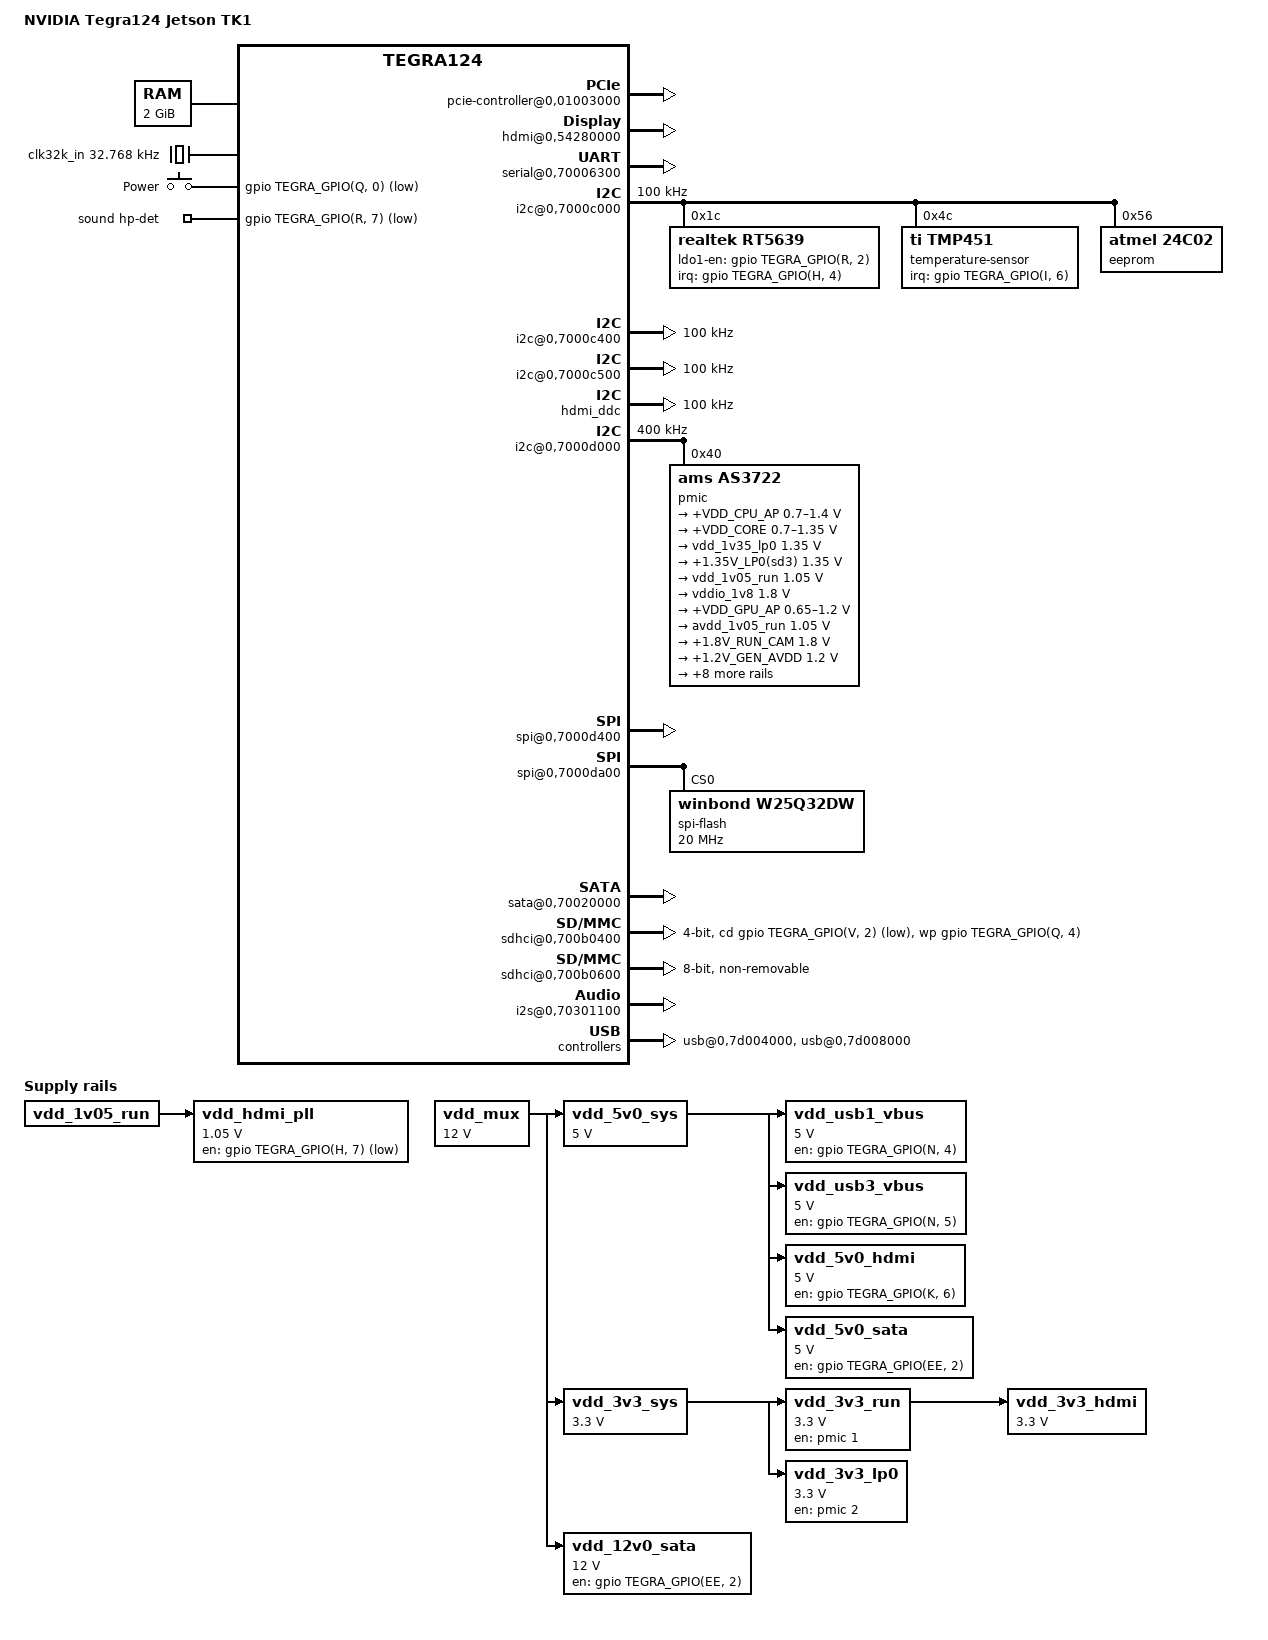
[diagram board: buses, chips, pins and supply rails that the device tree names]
/dts-v1/;

#include <dt-bindings/input/input.h>
#include "tegra124.dtsi"

/ {
	model = "NVIDIA Tegra124 Jetson TK1";
	compatible = "nvidia,jetson-tk1", "nvidia,tegra124";

	aliases {
		rtc0 = "/i2c@0,7000d000/pmic@40";
		rtc1 = "/rtc@0,7000e000";
	};

	memory {
		reg = <0x0 0x80000000 0x0 0x80000000>;
	};

	pcie-controller@0,01003000 {
		status = "okay";

		avddio-pex-supply = <&vdd_1v05_run>;
		dvddio-pex-supply = <&vdd_1v05_run>;
		avdd-pex-pll-supply = <&vdd_1v05_run>;
		hvdd-pex-supply = <&vdd_3v3_lp0>;
		hvdd-pex-pll-e-supply = <&vdd_3v3_lp0>;
		vddio-pex-ctl-supply = <&vdd_3v3_lp0>;
		avdd-pll-erefe-supply = <&avdd_1v05_run>;

		pci@1,0 {
			status = "okay";
		};

		pci@2,0 {
			status = "okay";
		};
	};

	host1x@0,50000000 {
		hdmi@0,54280000 {
			status = "okay";

			hdmi-supply = <&vdd_5v0_hdmi>;
			pll-supply = <&vdd_hdmi_pll>;
			vdd-supply = <&vdd_3v3_hdmi>;

			nvidia,ddc-i2c-bus = <&hdmi_ddc>;
			nvidia,hpd-gpio =
				<&gpio TEGRA_GPIO(N, 7) GPIO_ACTIVE_HIGH>;
		};
	};

	/* DB9 serial port */
	serial@0,70006300 {
		status = "okay";
	};

	/* Expansion GEN1_I2C_*, mini-PCIe I2C, on-board components */
	i2c@0,7000c000 {
		status = "okay";
		clock-frequency = <100000>;

		rt5639: audio-codec@1c {
			compatible = "realtek,rt5639";
			reg = <0x1c>;
			interrupt-parent = <&gpio>;
			interrupts = <TEGRA_GPIO(H, 4) GPIO_ACTIVE_HIGH>;
			realtek,ldo1-en-gpios =
				<&gpio TEGRA_GPIO(R, 2) GPIO_ACTIVE_HIGH>;
		};

		temperature-sensor@4c {
			compatible = "ti,tmp451";
			reg = <0x4c>;
			interrupt-parent = <&gpio>;
			interrupts = <TEGRA_GPIO(I, 6) IRQ_TYPE_LEVEL_LOW>;
		};

		eeprom@56 {
			compatible = "atmel,24c02";
			reg = <0x56>;
			pagesize = <8>;
		};
	};

	/* Expansion GEN2_I2C_* */
	i2c@0,7000c400 {
		status = "okay";
		clock-frequency = <100000>;
	};

	/* Expansion CAM_I2C_* */
	i2c@0,7000c500 {
		status = "okay";
		clock-frequency = <100000>;
	};

	/* HDMI DDC */
	hdmi_ddc: i2c@0,7000c700 {
		status = "okay";
		clock-frequency = <100000>;
	};

	/* Expansion PWR_I2C_*, on-board components */
	i2c@0,7000d000 {
		status = "okay";
		clock-frequency = <400000>;

		pmic: pmic@40 {
			compatible = "ams,as3722";
			reg = <0x40>;
			interrupts = <0 86 IRQ_TYPE_LEVEL_HIGH>;

			ams,system-power-controller;

			#interrupt-cells = <2>;
			interrupt-controller;

			gpio-controller;
			#gpio-cells = <2>;

			pinctrl-names = "default";
			pinctrl-0 = <&as3722_default>;

			as3722_default: pinmux {
				gpio0 {
					pins = "gpio0";
					function = "gpio";
					bias-pull-down;
				};

				gpio1_2_4_7 {
					pins = "gpio1", "gpio2", "gpio4", "gpio7";
					function = "gpio";
					bias-pull-up;
				};

				gpio3_5_6 {
					pins = "gpio3", "gpio5", "gpio6";
					bias-high-impedance;
				};
			};

			regulators {
				vsup-sd2-supply = <&vdd_5v0_sys>;
				vsup-sd3-supply = <&vdd_5v0_sys>;
				vsup-sd4-supply = <&vdd_5v0_sys>;
				vsup-sd5-supply = <&vdd_5v0_sys>;
				vin-ldo0-supply = <&vdd_1v35_lp0>;
				vin-ldo1-6-supply = <&vdd_3v3_run>;
				vin-ldo2-5-7-supply = <&vddio_1v8>;
				vin-ldo3-4-supply = <&vdd_3v3_sys>;
				vin-ldo9-10-supply = <&vdd_5v0_sys>;
				vin-ldo11-supply = <&vdd_3v3_run>;

				sd0 {
					regulator-name = "+VDD_CPU_AP";
					regulator-min-microvolt = <700000>;
					regulator-max-microvolt = <1400000>;
					regulator-min-microamp = <3500000>;
					regulator-max-microamp = <3500000>;
					regulator-always-on;
					regulator-boot-on;
					ams,ext-control = <2>;
				};

				sd1 {
					regulator-name = "+VDD_CORE";
					regulator-min-microvolt = <700000>;
					regulator-max-microvolt = <1350000>;
					regulator-min-microamp = <2500000>;
					regulator-max-microamp = <2500000>;
					regulator-always-on;
					regulator-boot-on;
					ams,ext-control = <1>;
				};

				vdd_1v35_lp0: sd2 {
					regulator-name = "+1.35V_LP0(sd2)";
					regulator-min-microvolt = <1350000>;
					regulator-max-microvolt = <1350000>;
					regulator-always-on;
					regulator-boot-on;
				};

				sd3 {
					regulator-name = "+1.35V_LP0(sd3)";
					regulator-min-microvolt = <1350000>;
					regulator-max-microvolt = <1350000>;
					regulator-always-on;
					regulator-boot-on;
				};

				vdd_1v05_run: sd4 {
					regulator-name = "+1.05V_RUN";
					regulator-min-microvolt = <1050000>;
					regulator-max-microvolt = <1050000>;
				};

				vddio_1v8: sd5 {
					regulator-name = "+1.8V_VDDIO";
					regulator-min-microvolt = <1800000>;
					regulator-max-microvolt = <1800000>;
					regulator-boot-on;
					regulator-always-on;
				};

				sd6 {
					regulator-name = "+VDD_GPU_AP";
					regulator-min-microvolt = <650000>;
					regulator-max-microvolt = <1200000>;
					regulator-min-microamp = <3500000>;
					regulator-max-microamp = <3500000>;
					regulator-boot-on;
					regulator-always-on;
				};

				avdd_1v05_run: ldo0 {
					regulator-name = "+1.05V_RUN_AVDD";
					regulator-min-microvolt = <1050000>;
					regulator-max-microvolt = <1050000>;
					regulator-boot-on;
					regulator-always-on;
					ams,ext-control = <1>;
				};

				ldo1 {
					regulator-name = "+1.8V_RUN_CAM";
					regulator-min-microvolt = <1800000>;
					regulator-max-microvolt = <1800000>;
				};

				ldo2 {
					regulator-name = "+1.2V_GEN_AVDD";
					regulator-min-microvolt = <1200000>;
					regulator-max-microvolt = <1200000>;
					regulator-boot-on;
					regulator-always-on;
				};

				ldo3 {
					regulator-name = "+1.05V_LP0_VDD_RTC";
					regulator-min-microvolt = <1000000>;
					regulator-max-microvolt = <1000000>;
					regulator-boot-on;
					regulator-always-on;
					ams,enable-tracking;
				};

				ldo4 {
					regulator-name = "+2.8V_RUN_CAM";
					regulator-min-microvolt = <2800000>;
					regulator-max-microvolt = <2800000>;
				};

				ldo5 {
					regulator-name = "+1.2V_RUN_CAM_FRONT";
					regulator-min-microvolt = <1200000>;
					regulator-max-microvolt = <1200000>;
				};

				vddio_sdmmc3: ldo6 {
					regulator-name = "+VDDIO_SDMMC3";
					regulator-min-microvolt = <1800000>;
					regulator-max-microvolt = <3300000>;
				};

				ldo7 {
					regulator-name = "+1.05V_RUN_CAM_REAR";
					regulator-min-microvolt = <1050000>;
					regulator-max-microvolt = <1050000>;
				};

				ldo9 {
					regulator-name = "+3.3V_RUN_TOUCH";
					regulator-min-microvolt = <2800000>;
					regulator-max-microvolt = <2800000>;
				};

				ldo10 {
					regulator-name = "+2.8V_RUN_CAM_AF";
					regulator-min-microvolt = <2800000>;
					regulator-max-microvolt = <2800000>;
				};

				ldo11 {
					regulator-name = "+1.8V_RUN_VPP_FUSE";
					regulator-min-microvolt = <1800000>;
					regulator-max-microvolt = <1800000>;
				};
			};
		};
	};

	/* Expansion TS_SPI_* */
	spi@0,7000d400 {
		status = "okay";
	};

	/* Internal SPI */
	spi@0,7000da00 {
		status = "okay";
		spi-max-frequency = <25000000>;
		spi-flash@0 {
			compatible = "winbond,w25q32dw";
			reg = <0>;
			spi-max-frequency = <20000000>;
		};
	};

	pmc@0,7000e400 {
		nvidia,invert-interrupt;
		nvidia,suspend-mode = <1>;
		nvidia,cpu-pwr-good-time = <500>;
		nvidia,cpu-pwr-off-time = <300>;
		nvidia,core-pwr-good-time = <641 3845>;
		nvidia,core-pwr-off-time = <61036>;
		nvidia,core-power-req-active-high;
		nvidia,sys-clock-req-active-high;
	};

	/* Serial ATA */
	sata@0,70020000 {
		status = "okay";

		hvdd-supply = <&vdd_3v3_lp0>;
		vddio-supply = <&vdd_1v05_run>;
		avdd-supply = <&vdd_1v05_run>;

		target-5v-supply = <&vdd_5v0_sata>;
		target-12v-supply = <&vdd_12v0_sata>;
	};

	padctl@0,7009f000 {
		pinctrl-0 = <&padctl_default>;
		pinctrl-names = "default";

		padctl_default: pinmux {
			usb3 {
				nvidia,lanes = "pcie-0", "pcie-1";
				nvidia,function = "usb3";
				nvidia,iddq = <0>;
			};

			pcie {
				nvidia,lanes = "pcie-2", "pcie-3",
					       "pcie-4";
				nvidia,function = "pcie";
				nvidia,iddq = <0>;
			};

			sata {
				nvidia,lanes = "sata-0";
				nvidia,function = "sata";
				nvidia,iddq = <0>;
			};
		};
	};

	/* SD card */
	sdhci@0,700b0400 {
		status = "okay";
		cd-gpios = <&gpio TEGRA_GPIO(V, 2) GPIO_ACTIVE_LOW>;
		power-gpios = <&gpio TEGRA_GPIO(R, 0) GPIO_ACTIVE_HIGH>;
		wp-gpios = <&gpio TEGRA_GPIO(Q, 4) GPIO_ACTIVE_HIGH>;
		bus-width = <4>;
		vqmmc-supply = <&vddio_sdmmc3>;
	};

	/* eMMC */
	sdhci@0,700b0600 {
		status = "okay";
		bus-width = <8>;
		non-removable;
	};

	ahub@0,70300000 {
		i2s@0,70301100 {
			status = "okay";
		};
	};

	/* mini-PCIe USB */
	usb@0,7d004000 {
		status = "okay";
	};

	usb-phy@0,7d004000 {
		status = "okay";
	};

	/* USB A connector */
	usb@0,7d008000 {
		status = "okay";
	};

	usb-phy@0,7d008000 {
		status = "okay";
		vbus-supply = <&vdd_usb3_vbus>;
	};

	clocks {
		compatible = "simple-bus";
		#address-cells = <1>;
		#size-cells = <0>;

		clk32k_in: clock@0 {
			compatible = "fixed-clock";
			reg = <0>;
			#clock-cells = <0>;
			clock-frequency = <32768>;
		};
	};

	gpio-keys {
		compatible = "gpio-keys";

		power {
			label = "Power";
			gpios = <&gpio TEGRA_GPIO(Q, 0) GPIO_ACTIVE_LOW>;
			linux,code = <KEY_POWER>;
			debounce-interval = <10>;
			gpio-key,wakeup;
		};
	};

	regulators {
		compatible = "simple-bus";
		#address-cells = <1>;
		#size-cells = <0>;

		vdd_mux: regulator@0 {
			compatible = "regulator-fixed";
			reg = <0>;
			regulator-name = "+VDD_MUX";
			regulator-min-microvolt = <12000000>;
			regulator-max-microvolt = <12000000>;
			regulator-always-on;
			regulator-boot-on;
		};

		vdd_5v0_sys: regulator@1 {
			compatible = "regulator-fixed";
			reg = <1>;
			regulator-name = "+5V_SYS";
			regulator-min-microvolt = <5000000>;
			regulator-max-microvolt = <5000000>;
			regulator-always-on;
			regulator-boot-on;
			vin-supply = <&vdd_mux>;
		};

		vdd_3v3_sys: regulator@2 {
			compatible = "regulator-fixed";
			reg = <2>;
			regulator-name = "+3.3V_SYS";
			regulator-min-microvolt = <3300000>;
			regulator-max-microvolt = <3300000>;
			regulator-always-on;
			regulator-boot-on;
			vin-supply = <&vdd_mux>;
		};

		vdd_3v3_run: regulator@3 {
			compatible = "regulator-fixed";
			reg = <3>;
			regulator-name = "+3.3V_RUN";
			regulator-min-microvolt = <3300000>;
			regulator-max-microvolt = <3300000>;
			regulator-always-on;
			regulator-boot-on;
			gpio = <&pmic 1 GPIO_ACTIVE_HIGH>;
			enable-active-high;
			vin-supply = <&vdd_3v3_sys>;
		};

		vdd_3v3_hdmi: regulator@4 {
			compatible = "regulator-fixed";
			reg = <4>;
			regulator-name = "+3.3V_AVDD_HDMI_AP_GATED";
			regulator-min-microvolt = <3300000>;
			regulator-max-microvolt = <3300000>;
			vin-supply = <&vdd_3v3_run>;
		};

		vdd_usb1_vbus: regulator@7 {
			compatible = "regulator-fixed";
			reg = <7>;
			regulator-name = "+USB0_VBUS_SW";
			regulator-min-microvolt = <5000000>;
			regulator-max-microvolt = <5000000>;
			gpio = <&gpio TEGRA_GPIO(N, 4) GPIO_ACTIVE_HIGH>;
			enable-active-high;
			gpio-open-drain;
			vin-supply = <&vdd_5v0_sys>;
		};

		vdd_usb3_vbus: regulator@8 {
			compatible = "regulator-fixed";
			reg = <8>;
			regulator-name = "+5V_USB_HS";
			regulator-min-microvolt = <5000000>;
			regulator-max-microvolt = <5000000>;
			gpio = <&gpio TEGRA_GPIO(N, 5) GPIO_ACTIVE_HIGH>;
			enable-active-high;
			gpio-open-drain;
			vin-supply = <&vdd_5v0_sys>;
		};

		vdd_3v3_lp0: regulator@10 {
			compatible = "regulator-fixed";
			reg = <10>;
			regulator-name = "+3.3V_LP0";
			regulator-min-microvolt = <3300000>;
			regulator-max-microvolt = <3300000>;
			regulator-always-on;
			regulator-boot-on;
			gpio = <&pmic 2 GPIO_ACTIVE_HIGH>;
			enable-active-high;
			vin-supply = <&vdd_3v3_sys>;
		};

		vdd_hdmi_pll: regulator@11 {
			compatible = "regulator-fixed";
			reg = <11>;
			regulator-name = "+1.05V_RUN_AVDD_HDMI_PLL";
			regulator-min-microvolt = <1050000>;
			regulator-max-microvolt = <1050000>;
			gpio = <&gpio TEGRA_GPIO(H, 7) GPIO_ACTIVE_LOW>;
			vin-supply = <&vdd_1v05_run>;
		};

		vdd_5v0_hdmi: regulator@12 {
			compatible = "regulator-fixed";
			reg = <12>;
			regulator-name = "+5V_HDMI_CON";
			regulator-min-microvolt = <5000000>;
			regulator-max-microvolt = <5000000>;
			gpio = <&gpio TEGRA_GPIO(K, 6) GPIO_ACTIVE_HIGH>;
			enable-active-high;
			vin-supply = <&vdd_5v0_sys>;
		};

		/* Molex power connector */
		vdd_5v0_sata: regulator@13 {
			compatible = "regulator-fixed";
			reg = <13>;
			regulator-name = "+5V_SATA";
			regulator-min-microvolt = <5000000>;
			regulator-max-microvolt = <5000000>;
			gpio = <&gpio TEGRA_GPIO(EE, 2) GPIO_ACTIVE_HIGH>;
			enable-active-high;
			vin-supply = <&vdd_5v0_sys>;
		};

		vdd_12v0_sata: regulator@14 {
			compatible = "regulator-fixed";
			reg = <14>;
			regulator-name = "+12V_SATA";
			regulator-min-microvolt = <12000000>;
			regulator-max-microvolt = <12000000>;
			gpio = <&gpio TEGRA_GPIO(EE, 2) GPIO_ACTIVE_HIGH>;
			enable-active-high;
			vin-supply = <&vdd_mux>;
		};
	};

	sound {
		compatible = "nvidia,tegra-audio-rt5640-jetson-tk1",
			     "nvidia,tegra-audio-rt5640";
		nvidia,model = "NVIDIA Tegra Jetson TK1";

		nvidia,audio-routing =
			"Headphones", "HPOR",
			"Headphones", "HPOL",
			"Mic Jack", "MICBIAS1",
			"IN2P", "Mic Jack";

		nvidia,i2s-controller = <&tegra_i2s1>;
		nvidia,audio-codec = <&rt5639>;

		nvidia,hp-det-gpios = <&gpio TEGRA_GPIO(R, 7) GPIO_ACTIVE_LOW>;

		clocks = <&tegra_car TEGRA124_CLK_PLL_A>,
			 <&tegra_car TEGRA124_CLK_PLL_A_OUT0>,
			 <&tegra_car TEGRA124_CLK_EXTERN1>;
		clock-names = "pll_a", "pll_a_out0", "mclk";
	};
};
